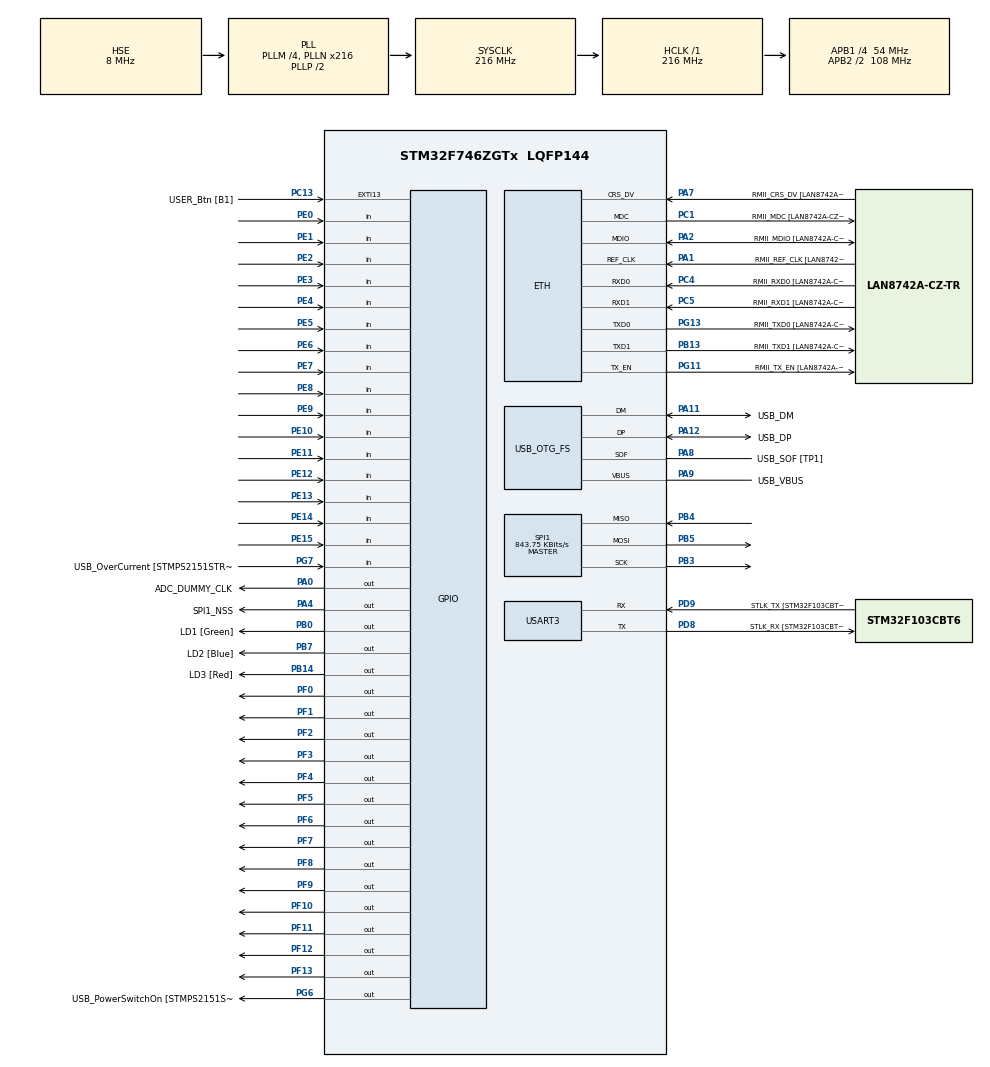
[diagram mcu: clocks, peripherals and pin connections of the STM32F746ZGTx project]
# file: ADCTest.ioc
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CORTEX_M7.ART_ACCLERATOR_ENABLE=1
CORTEX_M7.CPU_DCache=Enabled
CORTEX_M7.CPU_ICache=Enabled
CORTEX_M7.PREFETCH_ENABLE=1
Dma.Request0=TIM8_UP
Dma.Request1=TIM8_CH4/TRIG/COM
Dma.TIM8_CH4/TRIG/COM.1.Direction=DMA_PERIPH_TO_MEMORY
Dma.TIM8_CH4/TRIG/COM.1.FIFOMode=DMA_FIFOMODE_DISABLE
Dma.TIM8_CH4/TRIG/COM.1.Instance=DMA2_Stream7
Dma.TIM8_CH4/TRIG/COM.1.MemDataAlignment=DMA_MDATAALIGN_WORD
Dma.TIM8_CH4/TRIG/COM.1.MemInc=DMA_MINC_ENABLE
Dma.TIM8_CH4/TRIG/COM.1.Mode=DMA_NORMAL
Dma.TIM8_CH4/TRIG/COM.1.PeriphDataAlignment=DMA_PDATAALIGN_WORD
Dma.TIM8_CH4/TRIG/COM.1.PeriphInc=DMA_PINC_DISABLE
Dma.TIM8_CH4/TRIG/COM.1.Priority=DMA_PRIORITY_VERY_HIGH
Dma.TIM8_UP.0.Direction=DMA_PERIPH_TO_MEMORY
Dma.TIM8_UP.0.FIFOMode=DMA_FIFOMODE_DISABLE
Dma.TIM8_UP.0.Instance=DMA2_Stream1
Dma.TIM8_UP.0.MemDataAlignment=DMA_MDATAALIGN_WORD
Dma.TIM8_UP.0.MemInc=DMA_MINC_ENABLE
Dma.TIM8_UP.0.Mode=DMA_NORMAL
Dma.TIM8_UP.0.PeriphDataAlignment=DMA_PDATAALIGN_WORD
Dma.TIM8_UP.0.PeriphInc=DMA_PINC_DISABLE
Dma.TIM8_UP.0.Priority=DMA_PRIORITY_VERY_HIGH
ETH.MediaInterface=ETH_MEDIA_INTERFACE_RMII
ETH.PHY_Name=LAN8742A_PHY_ADDRESS
ETH.PHY_Value=0
ETH.PhyAddress=1
FREERTOS.MEMORY_ALLOCATION=2
FREERTOS.Tasks01=defaultTask,0,1024,StartDefaultTask,Default,NULL,Dynamic,NULL,NULL
FREERTOS.configCHECK_FOR_STACK_OVERFLOW=2
FREERTOS.configTOTAL_HEAP_SIZE=70000
Mcu.Family=STM32F7
Mcu.Name=STM32F746ZGTx
Mcu.Package=LQFP144
NVIC.DMA2_Stream1_IRQn=true\:5\:0\:false\:false\:true\:true\:false
NVIC.DMA2_Stream7_IRQn=true\:5\:0\:false\:false\:true\:true\:false
NVIC.PriorityGroup=NVIC_PRIORITYGROUP_4
PA0/WKUP.GPIO_Label=ADC_DUMMY_CLK
PA0/WKUP.Signal=GPIO_Output
PA1.GPIO_Label=RMII_REF_CLK [LAN8742A-CZ-TR_REFCLK0]
PA1.Mode=RMII
PA1.Signal=ETH_REF_CLK
PA10.GPIO_Label=USB_ID
PA10.Signal=USB_OTG_FS_ID
PA11.GPIO_Label=USB_DM
PA11.Mode=Device_Only
PA11.Signal=USB_OTG_FS_DM
PA12.GPIO_Label=USB_DP
PA12.Mode=Device_Only
PA12.Signal=USB_OTG_FS_DP
PA13.GPIO_Label=TMS
PA13.Mode=Serial_Wire
PA13.Signal=SYS_JTMS-SWDIO
PA14.GPIO_Label=TCK
PA14.Mode=Serial_Wire
PA14.Signal=SYS_JTCK-SWCLK
PA2.GPIO_Label=RMII_MDIO [LAN8742A-CZ-TR_MDIO]
PA2.Mode=RMII
PA2.Signal=ETH_MDIO
PA4.GPIO_Label=SPI1_NSS
PA4.GPIO_Speed=GPIO_SPEED_FREQ_VERY_HIGH
PA4.Signal=GPIO_Output
PA7.GPIO_Label=RMII_CRS_DV [LAN8742A-CZ-TR_CRS_DV]
PA7.Mode=RMII
PA7.Signal=ETH_CRS_DV
PA8.GPIO_Label=USB_SOF [TP1]
PA8.Mode=Activate_SOF_FS
PA8.Signal=USB_OTG_FS_SOF
PA9.GPIO_Label=USB_VBUS
PA9.Mode=Activate_VBUS
PA9.Signal=USB_OTG_FS_VBUS
PB0.GPIO_Label=LD1 [Green]
PB0.Signal=GPIO_Output
PB13.GPIO_Label=RMII_TXD1 [LAN8742A-CZ-TR_TXD1]
PB13.Mode=RMII
PB13.Signal=ETH_TXD1
PB14.GPIO_Label=LD3 [Red]
PB14.Signal=GPIO_Output
PB3.GPIO_Speed=GPIO_SPEED_FREQ_LOW
PB3.Mode=Full_Duplex_Master
PB3.Signal=SPI1_SCK
PB4.GPIO_Speed=GPIO_SPEED_FREQ_LOW
PB4.Mode=Full_Duplex_Master
PB4.Signal=SPI1_MISO
PB5.GPIO_Speed=GPIO_SPEED_FREQ_LOW
PB5.Mode=Full_Duplex_Master
PB5.Signal=SPI1_MOSI
PB7.GPIO_Label=LD2 [Blue]
PB7.Signal=GPIO_Output
PC1.GPIO_Label=RMII_MDC [LAN8742A-CZ-TR_MDC]
PC1.Mode=RMII
PC1.Signal=ETH_MDC
PC13.GPIO_Label=USER_Btn [B1]
PC13.Signal=GPXTI13
PC14/OSC32_IN.Mode=LSE-External-Oscillator
PC14/OSC32_IN.Signal=RCC_OSC32_IN
PC15/OSC32_OUT.Mode=LSE-External-Oscillator
PC15/OSC32_OUT.Signal=RCC_OSC32_OUT
PC4.GPIO_Label=RMII_RXD0 [LAN8742A-CZ-TR_RXD0]
PC4.Mode=RMII
PC4.Signal=ETH_RXD0
PC5.GPIO_Label=RMII_RXD1 [LAN8742A-CZ-TR_RXD1]
PC5.Mode=RMII
PC5.Signal=ETH_RXD1
PD8.GPIO_Label=STLK_RX [STM32F103CBT6_PA3]
PD8.Mode=Asynchronous
PD8.Signal=USART3_TX
PD9.GPIO_Label=STLK_TX [STM32F103CBT6_PA2]
PD9.Mode=Asynchronous
PD9.Signal=USART3_RX
PE0.GPIO_PuPd=GPIO_PULLDOWN
PE0.Signal=GPIO_Input
PE1.GPIO_PuPd=GPIO_PULLDOWN
PE1.Signal=GPIO_Input
PE10.GPIO_PuPd=GPIO_PULLDOWN
PE10.Signal=GPIO_Input
PE11.GPIO_PuPd=GPIO_PULLDOWN
PE11.Signal=GPIO_Input
PE12.GPIO_PuPd=GPIO_PULLDOWN
PE12.Signal=GPIO_Input
PE13.GPIO_PuPd=GPIO_PULLDOWN
PE13.Signal=GPIO_Input
PE14.GPIO_PuPd=GPIO_PULLDOWN
PE14.Signal=GPIO_Input
PE15.GPIO_PuPd=GPIO_PULLDOWN
PE15.Signal=GPIO_Input
PE2.GPIO_PuPd=GPIO_PULLDOWN
PE2.Signal=GPIO_Input
PE3.GPIO_PuPd=GPIO_PULLDOWN
PE3.Signal=GPIO_Input
PE4.GPIO_PuPd=GPIO_PULLDOWN
PE4.Signal=GPIO_Input
PE5.GPIO_PuPd=GPIO_PULLDOWN
PE5.Signal=GPIO_Input
PE6.GPIO_PuPd=GPIO_PULLDOWN
PE6.Signal=GPIO_Input
PE7.GPIO_PuPd=GPIO_PULLDOWN
PE7.Signal=GPIO_Input
PE8.GPIO_PuPd=GPIO_PULLDOWN
PE8.Signal=GPIO_Input
PE9.GPIO_PuPd=GPIO_PULLDOWN
PE9.Signal=GPIO_Input
PF0.GPIO_Speed=GPIO_SPEED_FREQ_LOW
PF0.Signal=GPIO_Output
PF1.GPIO_Speed=GPIO_SPEED_FREQ_LOW
PF1.Signal=GPIO_Output
PF10.GPIO_Speed=GPIO_SPEED_FREQ_LOW
PF10.Signal=GPIO_Output
PF11.GPIO_Speed=GPIO_SPEED_FREQ_LOW
PF11.Signal=GPIO_Output
PF12.GPIO_Speed=GPIO_SPEED_FREQ_LOW
PF12.Signal=GPIO_Output
PF13.GPIO_Speed=GPIO_SPEED_FREQ_LOW
PF13.Signal=GPIO_Output
PF2.GPIO_Speed=GPIO_SPEED_FREQ_LOW
PF2.Signal=GPIO_Output
PF3.GPIO_Speed=GPIO_SPEED_FREQ_LOW
PF3.Signal=GPIO_Output
PF4.GPIO_Speed=GPIO_SPEED_FREQ_LOW
PF4.Signal=GPIO_Output
PF5.GPIO_Speed=GPIO_SPEED_FREQ_LOW
PF5.Signal=GPIO_Output
PF6.GPIO_Speed=GPIO_SPEED_FREQ_LOW
PF6.Signal=GPIO_Output
PF7.GPIO_Speed=GPIO_SPEED_FREQ_LOW
PF7.Signal=GPIO_Output
PF8.GPIO_Speed=GPIO_SPEED_FREQ_LOW
PF8.Signal=GPIO_Output
PF9.GPIO_Speed=GPIO_SPEED_FREQ_LOW
PF9.Signal=GPIO_Output
PG11.GPIO_Label=RMII_TX_EN [LAN8742A-CZ-TR_TXEN]
PG11.Mode=RMII
PG11.Signal=ETH_TX_EN
PG13.GPIO_Label=RMII_TXD0 [LAN8742A-CZ-TR_TXD0]
PG13.Mode=RMII
PG13.Signal=ETH_TXD0
PG6.GPIO_Label=USB_PowerSwitchOn [STMPS2151STR_EN]
PG6.Signal=GPIO_Output
PG7.GPIO_Label=USB_OverCurrent [STMPS2151STR_FAULT]
PG7.Signal=GPIO_Input
PH0/OSC_IN.GPIO_Label=MCO [STM32F103CBT6_PA8]
PH0/OSC_IN.Mode=HSE-External-Clock-Source
PH0/OSC_IN.Signal=RCC_OSC_IN
PH1/OSC_OUT.Mode=HSE-External-Clock-Source
PH1/OSC_OUT.Signal=RCC_OSC_OUT
ProjectManager.HeapSize=0x200
ProjectManager.StackSize=0x400
ProjectManager.TargetToolchain=SW4STM32
RCC.48MHZClocksFreq_Value=24000000
RCC.AHBFreq_Value=216000000
RCC.APB1CLKDivider=RCC_HCLK_DIV4
RCC.APB1Freq_Value=54000000
RCC.APB1TimFreq_Value=108000000
RCC.APB2CLKDivider=RCC_HCLK_DIV2
RCC.APB2Freq_Value=108000000
RCC.APB2TimFreq_Value=216000000
RCC.CortexFreq_Value=216000000
RCC.HCLKFreq_Value=216000000
RCC.HSE_VALUE=8000000
RCC.HSI_VALUE=16000000
RCC.PLLM=4
RCC.PLLMUL=RCC_PLL_MUL9
RCC.PLLN=216
RCC.PLLQ=9
RCC.PRESCALERUSB=RCC_USBCLKSOURCE_PLL_DIV1_5
RCC.SYSCLKFreq_VALUE=216000000
RCC.SYSCLKSource=RCC_SYSCLKSOURCE_PLLCLK
RCC.SYSCLKSourceVirtual=RCC_SYSCLKSOURCE_PLLCLK
RCC.USBFreq_Value=48000000
RCC.VCOOutputFreq_Value=432000000
SPI1.BaudRatePrescaler=SPI_BAUDRATEPRESCALER_128
SPI1.CLKPolarity=SPI_POLARITY_LOW
SPI1.CalculateBaudRate=843.75 KBits/s
SPI1.DataSize=SPI_DATASIZE_16BIT
SPI1.Direction=SPI_DIRECTION_2LINES
SPI1.Mode=SPI_MODE_MASTER
SPI1.NSSPMode=SPI_NSS_PULSE_DISABLE
SPI1.VirtualType=VM_MASTER
TIM8.Channel-Output\ Compare4\ No\ Output=TIM_CHANNEL_4
TIM8.Period=1
TIM8.Pulse-Output\ Compare4\ No\ Output=1
USART3.VirtualMode-Asynchronous=VM_ASYNC
USART3.WordLength=WORDLENGTH_8B
USB_OTG_FS.VirtualMode=Device_Only
VP_FREERTOS_VS_ENABLE.Mode=Enabled
VP_TIM8_VS_no_output4.Mode=Output Compare4 No Output
board=NUCLEO-F746ZG

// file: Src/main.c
/**
  ******************************************************************************
  * File Name          : main.c
  * Description        : Main program body
  ******************************************************************************
  * This notice applies to any and all portions of this file
  * that are not between comment pairs USER CODE BEGIN and
  * USER CODE END. Other portions of this file, whether
  * inserted by the user or by software development tools
  * are owned by their respective copyright owners.
  *
  * Copyright (c) 2019 STMicroelectronics International N.V.
  * All rights reserved.
  *
  * Redistribution and use in source and binary forms, with or without
  * modification, are permitted, provided that the following conditions are met:
  *
  * 1. Redistribution of source code must retain the above copyright notice,
  *    this list of conditions and the following disclaimer.
  * 2. Redistributions in binary form must reproduce the above copyright notice,
  *    this list of conditions and the following disclaimer in the documentation
  *    and/or other materials provided with the distribution.
  * 3. Neither the name of STMicroelectronics nor the names of other
  *    contributors to this software may be used to endorse or promote products
  *    derived from this software without specific written permission.
  * 4. This software, including modifications and/or derivative works of this
  *    software, must execute solely and exclusively on microcontroller or
  *    microprocessor devices manufactured by or for STMicroelectronics.
  * 5. Redistribution and use of this software other than as permitted under
  *    this license is void and will automatically terminate your rights under
  *    this license.
  *
  * THIS SOFTWARE IS PROVIDED BY STMICROELECTRONICS AND CONTRIBUTORS "AS IS"
  * AND ANY EXPRESS, IMPLIED OR STATUTORY WARRANTIES, INCLUDING, BUT NOT
  * LIMITED TO, THE IMPLIED WARRANTIES OF MERCHANTABILITY, FITNESS FOR A
  * PARTICULAR PURPOSE AND NON-INFRINGEMENT OF THIRD PARTY INTELLECTUAL PROPERTY
  * RIGHTS ARE DISCLAIMED TO THE FULLEST EXTENT PERMITTED BY LAW. IN NO EVENT
  * SHALL STMICROELECTRONICS OR CONTRIBUTORS BE LIABLE FOR ANY DIRECT, INDIRECT,
  * INCIDENTAL, SPECIAL, EXEMPLARY, OR CONSEQUENTIAL DAMAGES (INCLUDING, BUT NOT
  * LIMITED TO, PROCUREMENT OF SUBSTITUTE GOODS OR SERVICES; LOSS OF USE, DATA,
  * OR PROFITS; OR BUSINESS INTERRUPTION) HOWEVER CAUSED AND ON ANY THEORY OF
  * LIABILITY, WHETHER IN CONTRACT, STRICT LIABILITY, OR TORT (INCLUDING
  * NEGLIGENCE OR OTHERWISE) ARISING IN ANY WAY OUT OF THE USE OF THIS SOFTWARE,
  * EVEN IF ADVISED OF THE POSSIBILITY OF SUCH DAMAGE.
  *
  ******************************************************************************
  */

#include "main.h"
#include "stm32f7xx_hal.h"
#include "cmsis_os.h"
#include "dma.h"
#include "eth.h"
#include "spi.h"
#include "tim.h"
#include "usart.h"
#include "usb_otg.h"
#include "gpio.h"

/* USER CODE BEGIN PV */
/* Private variables ---------------------------------------------------------*/

/* USER CODE END PV */

void SystemClock_Config(void);
void MX_FREERTOS_Init(void);

/* USER CODE BEGIN PFP */
/* Private function prototypes -----------------------------------------------*/

/* USER CODE END PFP */

int main(void)
{

  /* Enable I-Cache-------------------------------------------------------------*/
  SCB_EnableICache();

  /* Enable D-Cache-------------------------------------------------------------*/
  SCB_EnableDCache();

  /* MCU Configuration----------------------------------------------------------*/

  /* Reset of all peripherals, Initializes the Flash interface and the Systick. */
  HAL_Init();

  /* Configure the system clock */
  SystemClock_Config();

  /* Initialize all configured peripherals */
  MX_GPIO_Init();
  MX_DMA_Init();
  MX_USART3_UART_Init();
  MX_USB_OTG_FS_PCD_Init();
  MX_TIM8_Init();
  MX_SPI1_Init();

  /* Call init function for freertos objects (in freertos.c) */
  MX_FREERTOS_Init();

  /* Start scheduler */
  osKernelStart();

  /* We should never get here as control is now taken by the scheduler */

  /* Infinite loop */
  while (1)
  {

  }

}

/** System Clock Configuration
*/
void SystemClock_Config(void)
{

  RCC_OscInitTypeDef RCC_OscInitStruct;
  RCC_ClkInitTypeDef RCC_ClkInitStruct;
  RCC_PeriphCLKInitTypeDef PeriphClkInitStruct;

    /**Configure the main internal regulator output voltage
    */
  __HAL_RCC_PWR_CLK_ENABLE();

  __HAL_PWR_VOLTAGESCALING_CONFIG(PWR_REGULATOR_VOLTAGE_SCALE1);

    /**Initializes the CPU, AHB and APB busses clocks
    */
  RCC_OscInitStruct.OscillatorType = RCC_OSCILLATORTYPE_HSE;
  RCC_OscInitStruct.HSEState = RCC_HSE_BYPASS;
  RCC_OscInitStruct.PLL.PLLState = RCC_PLL_ON;
  RCC_OscInitStruct.PLL.PLLSource = RCC_PLLSOURCE_HSE;
  RCC_OscInitStruct.PLL.PLLM = 4;
  RCC_OscInitStruct.PLL.PLLN = 216;
  RCC_OscInitStruct.PLL.PLLP = RCC_PLLP_DIV2;
  RCC_OscInitStruct.PLL.PLLQ = 9;
  if (HAL_RCC_OscConfig(&RCC_OscInitStruct) != HAL_OK)
  {
    _Error_Handler(__FILE__, __LINE__);
  }

    /**Activate the Over-Drive mode
    */
  if (HAL_PWREx_EnableOverDrive() != HAL_OK)
  {
    _Error_Handler(__FILE__, __LINE__);
  }

    /**Initializes the CPU, AHB and APB busses clocks
    */
  RCC_ClkInitStruct.ClockType = RCC_CLOCKTYPE_HCLK|RCC_CLOCKTYPE_SYSCLK
                              |RCC_CLOCKTYPE_PCLK1|RCC_CLOCKTYPE_PCLK2;
  RCC_ClkInitStruct.SYSCLKSource = RCC_SYSCLKSOURCE_PLLCLK;
  RCC_ClkInitStruct.AHBCLKDivider = RCC_SYSCLK_DIV1;
  RCC_ClkInitStruct.APB1CLKDivider = RCC_HCLK_DIV4;
  RCC_ClkInitStruct.APB2CLKDivider = RCC_HCLK_DIV2;

  if (HAL_RCC_ClockConfig(&RCC_ClkInitStruct, FLASH_LATENCY_7) != HAL_OK)
  {
    _Error_Handler(__FILE__, __LINE__);
  }

  PeriphClkInitStruct.PeriphClockSelection = RCC_PERIPHCLK_USART3|RCC_PERIPHCLK_CLK48;
  PeriphClkInitStruct.Usart3ClockSelection = RCC_USART3CLKSOURCE_PCLK1;
  PeriphClkInitStruct.Clk48ClockSelection = RCC_CLK48SOURCE_PLL;
  if (HAL_RCCEx_PeriphCLKConfig(&PeriphClkInitStruct) != HAL_OK)
  {
    _Error_Handler(__FILE__, __LINE__);
  }

    /**Configure the Systick interrupt time
    */
  HAL_SYSTICK_Config(HAL_RCC_GetHCLKFreq()/1000);

    /**Configure the Systick
    */
  HAL_SYSTICK_CLKSourceConfig(SYSTICK_CLKSOURCE_HCLK);

  /* SysTick_IRQn interrupt configuration */
  HAL_NVIC_SetPriority(SysTick_IRQn, 15, 0);
}

void _Error_Handler(char * file, int line)
{
  while(1)
  {
  }
}

/************************ (C) COPYRIGHT STMicroelectronics *****END OF FILE****/

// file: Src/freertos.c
/**
  ******************************************************************************
  * File Name          : freertos.c
  * Description        : Code for freertos applications
  ******************************************************************************
  * This notice applies to any and all portions of this file
  * that are not between comment pairs USER CODE BEGIN and
  * USER CODE END. Other portions of this file, whether
  * inserted by the user or by software development tools
  * are owned by their respective copyright owners.
  *
  * Copyright (c) 2019 STMicroelectronics International N.V.
  * All rights reserved.
  *
  * Redistribution and use in source and binary forms, with or without
  * modification, are permitted, provided that the following conditions are met:
  *
  * 1. Redistribution of source code must retain the above copyright notice,
  *    this list of conditions and the following disclaimer.
  * 2. Redistributions in binary form must reproduce the above copyright notice,
  *    this list of conditions and the following disclaimer in the documentation
  *    and/or other materials provided with the distribution.
  * 3. Neither the name of STMicroelectronics nor the names of other
  *    contributors to this software may be used to endorse or promote products
  *    derived from this software without specific written permission.
  * 4. This software, including modifications and/or derivative works of this
  *    software, must execute solely and exclusively on microcontroller or
  *    microprocessor devices manufactured by or for STMicroelectronics.
  * 5. Redistribution and use of this software other than as permitted under
  *    this license is void and will automatically terminate your rights under
  *    this license.
  *
  * THIS SOFTWARE IS PROVIDED BY STMICROELECTRONICS AND CONTRIBUTORS "AS IS"
  * AND ANY EXPRESS, IMPLIED OR STATUTORY WARRANTIES, INCLUDING, BUT NOT
  * LIMITED TO, THE IMPLIED WARRANTIES OF MERCHANTABILITY, FITNESS FOR A
  * PARTICULAR PURPOSE AND NON-INFRINGEMENT OF THIRD PARTY INTELLECTUAL PROPERTY
  * RIGHTS ARE DISCLAIMED TO THE FULLEST EXTENT PERMITTED BY LAW. IN NO EVENT
  * SHALL STMICROELECTRONICS OR CONTRIBUTORS BE LIABLE FOR ANY DIRECT, INDIRECT,
  * INCIDENTAL, SPECIAL, EXEMPLARY, OR CONSEQUENTIAL DAMAGES (INCLUDING, BUT NOT
  * LIMITED TO, PROCUREMENT OF SUBSTITUTE GOODS OR SERVICES; LOSS OF USE, DATA,
  * OR PROFITS; OR BUSINESS INTERRUPTION) HOWEVER CAUSED AND ON ANY THEORY OF
  * LIABILITY, WHETHER IN CONTRACT, STRICT LIABILITY, OR TORT (INCLUDING
  * NEGLIGENCE OR OTHERWISE) ARISING IN ANY WAY OUT OF THE USE OF THIS SOFTWARE,
  * EVEN IF ADVISED OF THE POSSIBILITY OF SUCH DAMAGE.
  *
  ******************************************************************************
  */

#include "FreeRTOS.h"
#include "task.h"
#include "cmsis_os.h"

/* USER CODE BEGIN Includes */
#include "log.h"
#include "stm.h"
#include "FFTSampling.h"
#include "DummyData.h"
/* USER CODE END Includes */

osThreadId defaultTaskHandle;

/* USER CODE BEGIN Variables */
#define DATALEN 30000
uint32_t data[DATALEN];
uint32_t data2[DATALEN];
extern SPI_HandleTypeDef hspi1;
/* USER CODE END Variables */

void StartDefaultTask(void const * argument);

void MX_FREERTOS_Init(void); /* (MISRA C 2004 rule 8.1) */

/* USER CODE BEGIN FunctionPrototypes */
//static void SPI_Transmit(uint16_t *write, uint16_t *read, uint16_t length) {
//	for(uint16_t i=0;i<length;i++) {
//		uint16_t d = write[i];
//		uint16_t in = 0x0000;
//		for (uint16_t j = 0; j < 16; j++) {
//			if (d & 0x8000) {
//				HAL_GPIO_WritePin(SPI_MOSI_GPIO_Port, SPI_MOSI_Pin,
//						GPIO_PIN_SET);
//			} else {
//				HAL_GPIO_WritePin(SPI_MOSI_GPIO_Port, SPI_MOSI_Pin,
//						GPIO_PIN_RESET);
//			}
//			HAL_GPIO_WritePin(SPI_CLK_GPIO_Port, SPI_CLK_Pin,
//									GPIO_PIN_RESET);
//			in <<= 1;
//			d <<= 1;
//			if (HAL_GPIO_ReadPin(SPI_MISO_GPIO_Port, SPI_MISO_Pin)
//					== GPIO_PIN_SET) {
//				in |= 0x0001;
//			}
//			HAL_GPIO_WritePin(SPI_CLK_GPIO_Port, SPI_CLK_Pin,
//									GPIO_PIN_SET);
//		}
//		if(read) {
//			read[i] = in;
//		}
//	}
//	HAL_GPIO_WritePin(SPI_CLK_GPIO_Port, SPI_CLK_Pin,
//							GPIO_PIN_RESET);
//}

/* USER CODE END FunctionPrototypes */

/* GetIdleTaskMemory prototype (linked to static allocation support) */
void vApplicationGetIdleTaskMemory( StaticTask_t **ppxIdleTaskTCBBuffer, StackType_t **ppxIdleTaskStackBuffer, uint32_t *pulIdleTaskStackSize );

/* Hook prototypes */
void vApplicationStackOverflowHook(xTaskHandle xTask, signed char *pcTaskName);

/* USER CODE BEGIN 4 */
__weak void vApplicationStackOverflowHook(xTaskHandle xTask, signed char *pcTaskName)
{
   /* Run time stack overflow checking is performed if
   configCHECK_FOR_STACK_OVERFLOW is defined to 1 or 2. This hook function is
   called if a stack overflow is detected. */
}
/* USER CODE END 4 */

/* USER CODE BEGIN GET_IDLE_TASK_MEMORY */
static StaticTask_t xIdleTaskTCBBuffer;
static StackType_t xIdleStack[configMINIMAL_STACK_SIZE];

void vApplicationGetIdleTaskMemory( StaticTask_t **ppxIdleTaskTCBBuffer, StackType_t **ppxIdleTaskStackBuffer, uint32_t *pulIdleTaskStackSize )
{
  *ppxIdleTaskTCBBuffer = &xIdleTaskTCBBuffer;
  *ppxIdleTaskStackBuffer = &xIdleStack[0];
  *pulIdleTaskStackSize = configMINIMAL_STACK_SIZE;
  /* place for user code */
}
/* USER CODE END GET_IDLE_TASK_MEMORY */

/* Init FreeRTOS */

void MX_FREERTOS_Init(void) {

  /* Create the thread(s) */
  /* definition and creation of defaultTask */
  osThreadDef(defaultTask, StartDefaultTask, osPriorityNormal, 0, 1024);
  defaultTaskHandle = osThreadCreate(osThread(defaultTask), NULL);

}

/* StartDefaultTask function */
void StartDefaultTask(void const * argument)
{

  /* USER CODE BEGIN StartDefaultTask */
	log_init();
	LOG(Log_System, LevelInfo, "Start");

	log_flush();

//	while(1) {
//		fft_spi_test();
//		vTaskDelay(5000);
//	}

//#define FREQ				6250000
//	for (uint32_t i = 490; i < 510; i++) {
//		uint32_t res = FFT_take_sample(i, FFT_WINDOW_RECTANGLE,
//		FREQ);
//		LOG(Log_App, LevelInfo, "Points: %lu, Res: %lu", i, res);
//	}

//#define DUMMY_DATA

#define POINTS 				2500000
#ifdef DUMMY_DATA
#define FREQ_OFFSET			((25000000/POINTS)/2)
	for (uint8_t j = 0; j < FFT_WINDOW_MAX; j++) {
		LOG(Log_App, LevelInfo, "Window: %d", j);
		for (int32_t i = -5; i <= 5; i++) {
			uint32_t res = FFT_take_sample(POINTS, j,
					6250000 + i * FREQ_OFFSET);
			LOG(Log_App, LevelInfo, "Freq: %lu, Res: %lu", 6250000 + i * FREQ_OFFSET, res);
		}
	}
#else
	while(1) {
		float dbm = FFT_take_sample(POINTS, FFT_WINDOW_FLATTOP, 0);
		LOG(Log_App, LevelInfo, "dbm: %f", dbm);
		vTaskDelay(1000);
	}
#endif
	while(1) {
//		FFT_take_sample(4, FFT_WINDOW_RECTANGLE, 10000000);
		vTaskDelay(1000);
	}

//	LOG(Log_System, LevelInfo, "Readback: 0x%04x", readSPI(0x5555));
//	while(1);

#define NUM_WORDS	1024
	for (uint16_t i = 0; i < NUM_WORDS; i++) {
		writeSPI(i, i);
	}
	LOG(Log_System, LevelInfo, "%d words written.", NUM_WORDS);

	uint8_t error = 0;
	for (uint16_t i = 0; i < NUM_WORDS; i++) {
		uint16_t val = readSPI(i);
		if (val != i) {
			LOG(Log_System, LevelInfo,
					"Error: expected %d, got %d at position %d", i, val, i);
			error = 1;
			break;
		}
	}
	if (!error) {
		LOG(Log_System, LevelInfo, "%d words verified correctly", NUM_WORDS);
	}

	while (1) {
		vTaskDelay(1000);
	}

	extern TIM_HandleTypeDef htim8;
	extern DMA_HandleTypeDef hdma_tim8_up, hdma_tim8_ch4_trig_com;
	while (1) {
		HAL_Delay(5);
		HAL_GPIO_TogglePin(LD1_GPIO_Port, LD1_Pin);
		HAL_DMA_Start(&hdma_tim8_up, &(GPIOE->IDR), data2,
		DATALEN);
		HAL_DMA_Start(&hdma_tim8_ch4_trig_com, &(GPIOE->IDR), data,
		DATALEN);
		/* Enable the TIM Update DMA request */
		__HAL_TIM_ENABLE_DMA(&htim8, TIM_DMA_UPDATE | TIM_DMA_CC4);
		HAL_TIM_Base_Start(&htim8);
//		while(1);
		HAL_StatusTypeDef res = HAL_DMA_PollForTransfer(&hdma_tim8_up, HAL_DMA_FULL_TRANSFER,
				1000);
		res = HAL_DMA_PollForTransfer(&hdma_tim8_ch4_trig_com, HAL_DMA_FULL_TRANSFER,
				100);
//		LOG(Log_System, LevelDebug, "Result: 0x%04x", res);
		if (res == HAL_OK) {
			uint16_t last = data[1];
			uint8_t error = 0;
			for (uint16_t i = 1; i < DATALEN; i++) {
				if (!((last ^ data2[i]) & 0x01)) {
					error = 1;
					LOG(Log_System, LevelWarn, "Error at data2, sample %d", i);
					break;
				}
				last = data2[i];
				if (i < DATALEN - 1) {
					if (!((last ^ data[i + 1]) & 0x01)) {
						error = 1;
						LOG(Log_System, LevelWarn, "Error at data2, sample %d",
								i + 1);
						break;
					}
					last = data[i + 1];
				}
			}
			if (!error) {
				LOG(Log_System, LevelInfo, "Sample OK");
				HAL_GPIO_WritePin(LD2_GPIO_Port, LD2_Pin, GPIO_PIN_SET);
				HAL_GPIO_WritePin(LD3_GPIO_Port, LD3_Pin, GPIO_PIN_RESET);
			} else {
				HAL_GPIO_WritePin(LD2_GPIO_Port, LD2_Pin, GPIO_PIN_RESET);
				HAL_GPIO_WritePin(LD3_GPIO_Port, LD3_Pin, GPIO_PIN_SET);
			}
		} else {
			HAL_DMA_Abort(&hdma_tim8_up);
			HAL_DMA_Abort(&hdma_tim8_ch4_trig_com);
			HAL_GPIO_WritePin(LD2_GPIO_Port, LD2_Pin, GPIO_PIN_RESET);
			HAL_GPIO_WritePin(LD3_GPIO_Port, LD3_Pin, GPIO_PIN_RESET);
		}
		HAL_TIM_Base_Stop(&htim8);
	}
	/* Infinite loop */
  for(;;)
  {
    osDelay(1);
  }
  /* USER CODE END StartDefaultTask */
}

/************************ (C) COPYRIGHT STMicroelectronics *****END OF FILE****/
